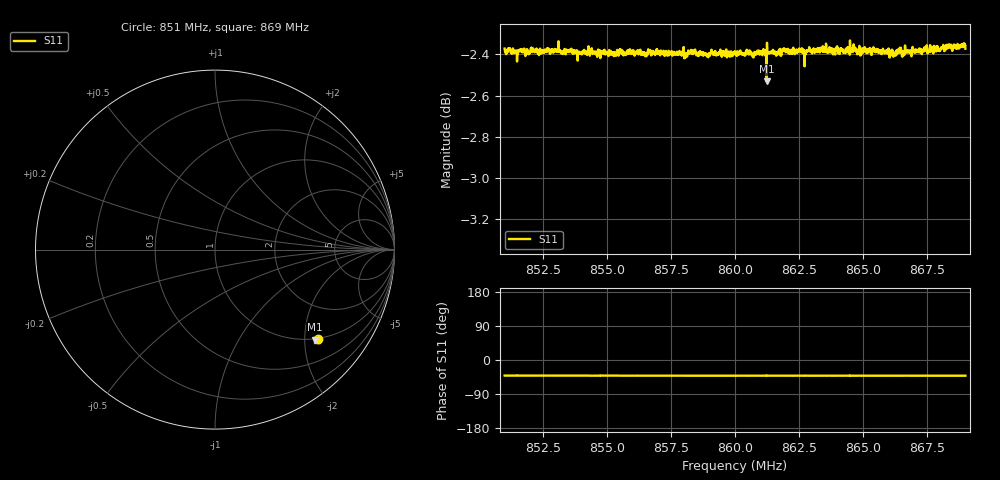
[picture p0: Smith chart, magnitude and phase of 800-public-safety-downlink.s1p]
! Calibrated averaged scanner-service zoom
# Hz S RI R 50
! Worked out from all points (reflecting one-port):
!   2001 points, 851 MHz to 869 MHz, reference 50 ohm
!   lowest |S11| = -2.5 dB at 861.23 MHz (marker M1), VSWR 6.91, Z = 49.1 - j111 ohm
!   phase of S11 starts at -41 deg and turns -1 deg over the sweep
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8.51e8  0.5746 -0.4991
8.51432e8  0.5725 -0.4989
8.51666e8  0.5739 -0.4996
8.51891e8  0.5725 -0.4996
8.5325e8  0.5719 -0.5004
8.53565e8  0.5718 -0.5009
8.53943e8  0.5712 -0.4998
8.54438e8  0.5707 -0.5
8.54762e8  0.5711 -0.5001
8.55248e8  0.5701 -0.5013
8.555e8  0.5716 -0.5021
8.5775e8  0.5695 -0.501
8.6e8  0.5702 -0.5021
8.61233e8  0.5545 -0.5009
8.61314e8  0.5696 -0.5019
8.61332e8  0.57 -0.5015
8.6225e8  0.5695 -0.5028
8.62565e8  0.5697 -0.5031
8.62727e8  0.5702 -0.5016
8.62871e8  0.5694 -0.5038
8.645e8  0.5718 -0.5033
8.65895e8  0.5701 -0.5024
8.66111e8  0.5698 -0.5027
8.6639e8  0.5695 -0.5033
8.66579e8  0.5695 -0.5019
8.6675e8  0.5687 -0.5049
8.68379e8  0.5709 -0.5059
8.69e8  0.5699 -0.5043
